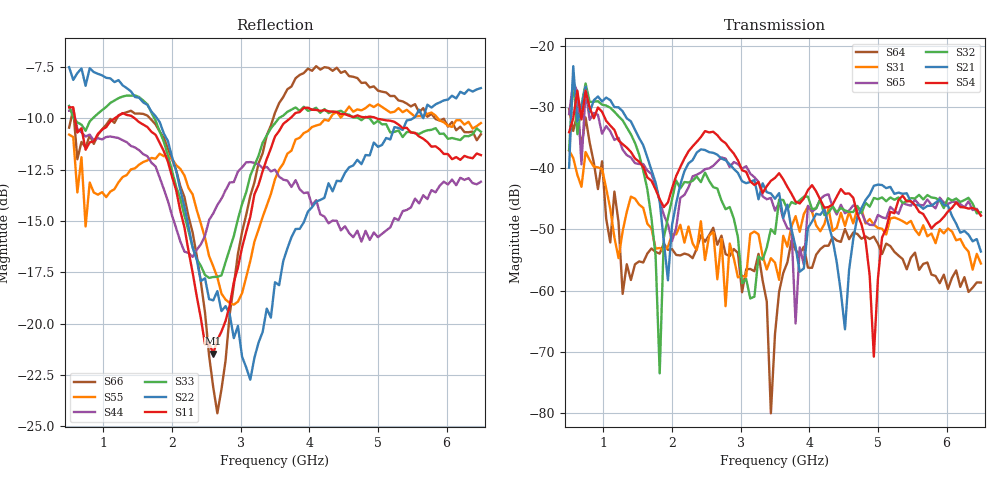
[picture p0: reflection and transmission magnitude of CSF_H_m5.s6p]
!Keysight Technologies,M9804A,MY58100912,A.14.10.03
!Date: Thursday, April 27, 2023 10:28:33
!Correction: S11(C  6-Port  )
!S12(C  6-Port  )
!S13(C  6-Port  )
!S14(C  6-Port  )
!S15(C  6-Port  )
!S16(C  6-Port  )
!S21(C  6-Port  )
!S22(C  6-Port  )
!S23(C  6-Port  )
!S24(C  6-Port  )
!S25(C  6-Port  )
!S26(C  6-Port  )
!S31(C  6-Port  )
!S32(C  6-Port  )
!S33(C  6-Port  )
!S34(C  6-Port  )
!S35(C  6-Port  )
!S36(C  6-Port  )
!S41(C  6-Port  )
!S42(C  6-Port  )
!S43(C  6-Port  )
!S44(C  6-Port  )
!S45(C  6-Port  )
!S46(C  6-Port  )
!S51(C  6-Port  )
!S52(C  6-Port  )
!S53(C  6-Port  )
!S54(C  6-Port  )
!S55(C  6-Port  )
!S56(C  6-Port  )
!S61(C  6-Port  )
!S62(C  6-Port  )
!S63(C  6-Port  )
!S64(C  6-Port  )
!S65(C  6-Port  )
!S66(C  6-Port  )
!S6P File: Measurement: :
# Hz S  RI  R 50
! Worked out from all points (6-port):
!   101 points, 500 MHz to 6.5 GHz, reference 50 ohm
!   strongest paths, dB at 500 MHz, 2 GHz, 3.5 GHz, 5 GHz, 6.5 GHz:
!     S54: -34.1, -43.3, -41.6, -58.0, -47.7
!     S21: -39.9, -49.3, -45.0, -42.7, -53.6
!     S32: -37.0, -45.1, -50.7, -45.1, -47.2
!     S65: -31.2, -51.9, -46.9, -47.6, -47.8
!     S31: -37.1, -50.8, -55.4, -49.8, -55.6
!     S64: -30.3, -53.2, -67.1, -52.3, -58.7
!   lowest |S11| = -21.5 dB at 2.6 GHz (marker M1), VSWR 1.18, Z = 42.5 + j2.04 ohm
!   |S11| at or under -10 dB: 586.5 MHz to 1.162 GHz (575.6 MHz wide, 65.8 % of centre); 1.459 GHz to 3.718 GHz (2.26 GHz wide, 87.3 % of centre); 4.983 GHz to end of sweep
